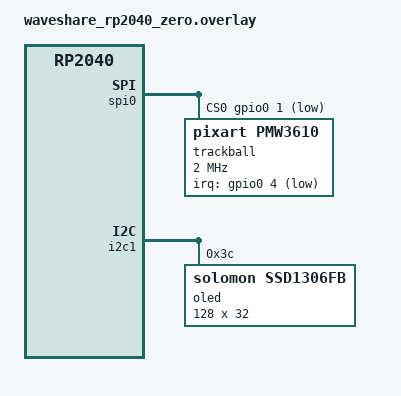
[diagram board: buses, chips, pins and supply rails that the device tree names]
#include <dt-bindings/pinctrl/rpi-pico-rp2040-pinctrl.h>
#include <zephyr/dt-bindings/input/input-event-codes.h>

&pinctrl {
    i2c1_default: i2c1_default {
        group1 {
          pinmux = <I2C1_SDA_P26>, <I2C1_SCL_P27>;
          input-enable;
          input-schmitt-enable;
        };
    };

    spi0_default: spi0_default {
        group1 {
            pinmux = <PIO0_P0>;
        };
        group2 {
            pinmux = <PIO0_P0>;
            input-enable;
        };
        group3 {
          pinmux = <PIO0_P2>;
        };
    };

};

&spi0 {
    status = "okay";
    cs-gpios = <&gpio0 1 GPIO_ACTIVE_LOW>;

    trackball: trackball@0 {
        status = "okay";
        compatible = "pixart,pmw3610";
        reg = <0>;
        spi-max-frequency = <2000000>;
        irq-gpios = <&gpio0 4 (GPIO_ACTIVE_LOW | GPIO_PULL_UP)>;
        cpi = <600>;
        evt-type = <INPUT_EV_REL>;
        x-input-code = <INPUT_REL_X>;
        y-input-code = <INPUT_REL_Y>;
    };
};

&i2c1 {
    status = "okay";

    oled: ssd1306@3c {
        compatible = "solomon,ssd1306fb";
        reg = <0x3c>;
        width = <128>;
        height = <32>;
        segment-offset = <0>;
        page-offset = <0>;
        display-offset = <0>;
        multiplex-ratio = <31>;
        segment-remap;
        com-invdir;
        com-sequential;
        inversion-on;
        prechargep = <0x22>;
    };
};
